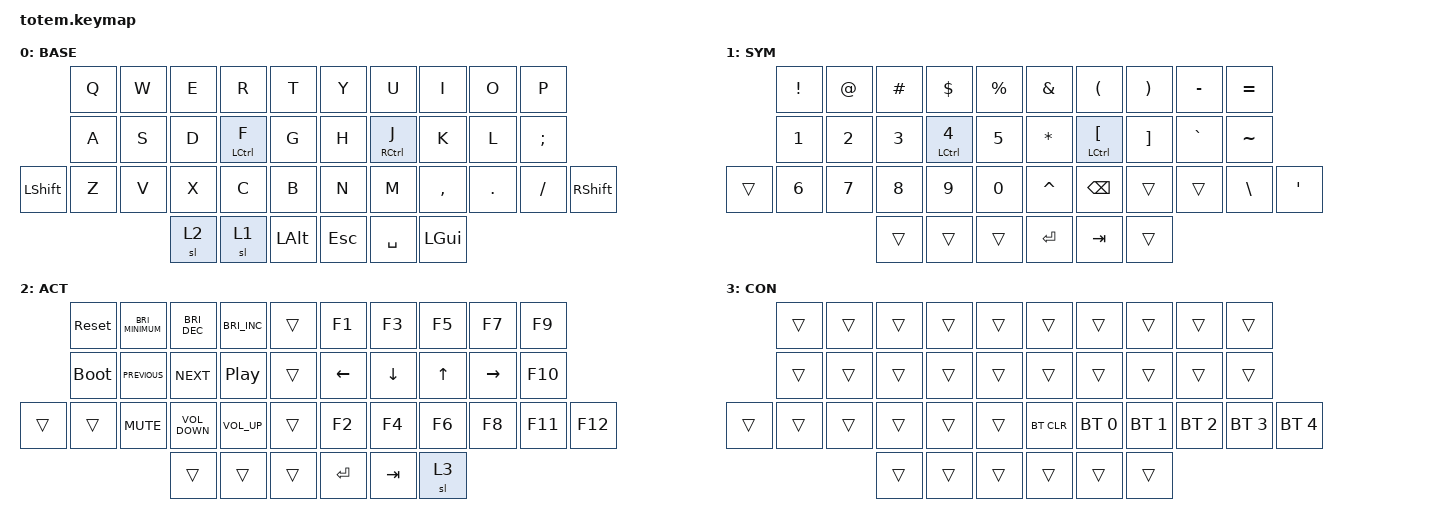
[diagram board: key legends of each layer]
//
//                                                        ▀▀▀▀▀     ▀▀▀▀▀          ▀▀█▀▀
//                                                        ▄▀▀▀▄  ▄  ▄▀▀▀▄  ▄  ▄▀▀▀▄  █  ▄▀▀▀▄
//                                                        █   █  █  █   █  █  █   █  █  █   █
//                                                         ▀▀▀   █   ▀▀▀   █   ▀▀▀   ▀   ▀▀▀
//                                                               █      ▄▄▄█▄▄▄    █   █  
//                                                               ▀      █  █  █     █▄█
//                                                             ▀▀▀▀▀    █  █  █      ▀
//                                                                      ▀  ▀  ▀
//
// ▄▄▄▄▄▄▄▄▄▄▄▄▄▄▄▄▄▄▄▄▄▄▄▄▄▄▄▄▄▄▄▄▄▄▄▄▄▄▄▄▄▄▄▄▄▄▄▄▄▄▄▄▄▄▄▄▄▄▄▄▄▄▄▄▄▄▄▄▄▄▄▄▄▄▄▄▄▄▄▄▄▄▄▄▄▄▄▄▄▄▄▄▄▄▄▄▄▄▄▄▄▄▄▄▄▄▄▄▄▄▄▄▄▄▄▄▄▄▄▄▄▄▄▄▄▄▄▄▄▄▄▄▄▄▄▄▄▄▄▄▄▄▄▄▄▄▄▄▄

#include <behaviors.dtsi>
#include <dt-bindings/zmk/bt.h>
#include <dt-bindings/zmk/keys.h>

#define BASE 0
#define NAV  1
#define SYM  2
#define ADJ  3
#define TVP1 4
#define TVP2 5

&mt {
    quick-tap-ms = <100>;
    global-quick-tap;
    flavor = "tap-preferred";
    tapping-term-ms = <170>;
};

/ {
    combos { compatible = "zmk,combos"; };

    behaviors {
        left_ctrl: left_ctrl {
            compatible = "zmk,behavior-hold-tap";
            label = "LEFT_CTRL";
            bindings = <&kp>, <&kp>;

            #binding-cells = <2>;
            tapping-term-ms = <200>;
            flavor = "tap-unless-interrupted";
            hold-while-undecided;
            hold-trigger-key-positions = <5 6 8 9 15 16 17 18 19 26 27 28 29 30 31 37 7 36 35 32 33 34>;
        };

        right_ctrl: right_ctrl {
            compatible = "zmk,behavior-hold-tap";
            label = "RIGHT_CTRL";
            bindings = <&kp>, <&kp>;

            #binding-cells = <2>;
            tapping-term-ms = <200>;
            flavor = "tap-unless-interrupted";
            hold-while-undecided;
            hold-trigger-key-positions = <0 1 2 3 4 10 11 12 13 14 20 21 22 23 24 25 32 33 34 35 36 37>;
        };
    };

    keymap {
        compatible = "zmk,keymap";

        // ▄▄▄▄▄▄▄▄▄▄▄▄▄▄▄▄▄▄▄▄▄▄▄▄▄▄▄▄▄▄▄▄▄▄▄▄▄▄▄▄▄▄▄▄▄▄▄▄▄▄▄▄▄▄▄▄▄▄▄▄▄▄▄▄▄▄▄▄▄▄▄▄▄▄▄▄▄▄▄▄▄▄▄▄▄▄▄▄▄▄▄▄▄▄▄▄▄▄▄▄▄▄▄▄▄▄▄▄▄▄▄▄▄▄▄▄▄▄▄▄▄▄▄▄▄▄▄▄▄▄▄▄▄▄▄▄▄▄▄▄▄▄▄▄▄▄▄▄▄

        base_layer {
            // ┏━━━━━━━━━━━━━━━━━━━━━━━━━━━━━━━━━━━━━━━┓

            label = "BASE";

            // ┗━━━━━━━━━━━━━━━━━━━━━━━━━━━━━━━━━━━━━━━┛
            //             ┏━━━━━━━━━━━┳━━━━━━━━━━━┳━━━━━━━━━━━┳━━━━━━━━━━━┳━━━━━━━━━━━┓   ┏━━━━━━━━━━━┳━━━━━━━━━━━┳━━━━━━━━━━━┳━━━━━━━━━━━┳━━━━━━━━━━━┓
            //             ┃     Q     ┃     W     ┃     F     ┃     P     ┃     G     ┃   ┃     J     ┃     L     ┃     U     ┃     Y     ┃     ;     ┃
            //             ┣━━━━━━━━━━━╋━━━━━━━━━━━╋━━━━━━━━━━━╋━━━━━━━━━━━╋━━━━━━━━━━━┫   ┣━━━━━━━━━━━╋━━━━━━━━━━━╋━━━━━━━━━━━╋━━━━━━━━━━━╋━━━━━━━━━━━┫
            //             ┃     A     ┃     R     ┃     S     ┃     T     ┃     D     ┃   ┃     H     ┃     N     ┃     E     ┃     I     ┃     O     ┃
            // ┏━━━━━━━━━━━╋━━━━━━━━━━━╋━━━━━━━━━━━╋━━━━━━━━━━━╋━━━━━━━━━━━╋━━━━━━━━━━━┫   ┣━━━━━━━━━━━╋━━━━━━━━━━━╋━━━━━━━━━━━╋━━━━━━━━━━━╋━━━━━━━━━━━╋━━━━━━━━━━━┓
            // ┃     Q     ┃     Z     ┃     X     ┃     C     ┃     V     ┃     B     ┃   ┃     K     ┃     M     ┃     ,     ┃     .     ┃     /     ┃     \     ┃
            // ┗━━━━━━━━━━━┻━━━━━━━━━━━┻━━━━━━━━━━━╋━━━━━━━━━━━╋━━━━━━━━━━━╋━━━━━━━━━━━┫   ┣━━━━━━━━━━━╋━━━━━━━━━━━╋━━━━━━━━━━━╋━━━━━━━━━━━┻━━━━━━━━━━━┻━━━━━━━━━━━┛
            //                                     ┃    DEL    ┃    TAB    ┃    SPC    ┃   ┃   ENTER   ┃           ┃   BSPC    ┃
            //                                     ┗━━━━━━━━━━━┻━━━━━━━━━━━┻━━━━━━━━━━━┛   ┗━━━━━━━━━━━┻━━━━━━━━━━━┻━━━━━━━━━━━┛

            bindings = <
                &kp Q  &kp W  &kp E  &kp R               &kp T           &kp Y    &kp U                &kp I         &kp O    &kp P
                &kp A  &kp S  &kp D  &left_ctrl LCTRL F  &kp G           &kp H    &right_ctrl RCTRL J  &kp K         &kp L    &kp SEMICOLON
&kp LEFT_SHIFT  &kp Z  &kp V  &kp X  &kp C               &kp B           &kp N    &kp M                &kp COMMA     &kp DOT  &kp SLASH      &kp RIGHT_SHIFT
                              &sl 2  &sl 1               &kp LEFT_ALT    &kp ESC  &kp SPACE            &kp LEFT_GUI
            >;
        };

        // ▄▄▄▄▄▄▄▄▄▄▄▄▄▄▄▄▄▄▄▄▄▄▄▄▄▄▄▄▄▄▄▄▄▄▄▄▄▄▄▄▄▄▄▄▄▄▄▄▄▄▄▄▄▄▄▄▄▄▄▄▄▄▄▄▄▄▄▄▄▄▄▄▄▄▄▄▄▄▄▄▄▄▄▄▄▄▄▄▄▄▄▄▄▄▄▄▄▄▄▄▄▄▄▄▄▄▄▄▄▄▄▄▄▄▄▄▄▄▄▄▄▄▄▄▄▄▄▄▄▄▄▄▄▄▄▄▄▄▄▄▄▄▄▄▄▄▄▄▄
        // ▄▄▄▄▄▄▄▄▄▄▄▄▄▄▄▄▄▄▄▄▄▄▄▄▄▄▄▄▄▄▄▄▄▄▄▄▄▄▄▄▄▄▄▄▄▄▄▄▄▄▄▄▄▄▄▄▄▄▄▄▄▄▄▄▄▄▄▄▄▄▄▄▄▄▄▄▄▄▄▄▄▄▄▄▄▄▄▄▄▄▄▄▄▄▄▄▄▄▄▄▄▄▄▄▄▄▄▄▄▄▄▄▄▄▄▄▄▄▄▄▄▄▄▄▄▄▄▄▄▄▄▄▄▄▄▄▄▄▄▄▄▄▄▄▄▄▄▄▄

        symbol_layer {
            // ┏━━━━━━━━━━━━━━━━━━━━━━━━━━━━━━━━━━━━━━━┓

            label = "SYM";

            // ┗━━━━━━━━━━━━━━━━━━━━━━━━━━━━━━━━━━━━━━━┛
            //             ┏━━━━━━━━━━━┳━━━━━━━━━━━┳━━━━━━━━━━━┳━━━━━━━━━━━┳━━━━━━━━━━━┓   ┏━━━━━━━━━━━┳━━━━━━━━━━━┳━━━━━━━━━━━┳━━━━━━━━━━━┳━━━━━━━━━━━┓
            //             ┃     !     ┃     @     ┃     #     ┃     $     ┃     %     ┃   ┃     ˆ     ┃     &     ┃     Ü     ┃     '     ┃     "     ┃
            //             ┣━━━━━━━━━━━╋━━━━━━━━━━━╋━━━━━━━━━━━╋━━━━━━━━━━━╋━━━━━━━━━━━┫   ┣━━━━━━━━━━━╋━━━━━━━━━━━╋━━━━━━━━━━━╋━━━━━━━━━━━╋━━━━━━━━━━━┫
            //             ┃     Ä     ┃           ┃    SZ     ┃           ┃           ┃   ┃   MUTE    ┃   YEN     ┃   EURO    ┃  POUND    ┃     Ö     ┃
            // ┏━━━━━━━━━━━╋━━━━━━━━━━━╋━━━━━━━━━━━╋━━━━━━━━━━━╋━━━━━━━━━━━╋━━━━━━━━━━━┫   ┣━━━━━━━━━━━╋━━━━━━━━━━━╋━━━━━━━━━━━╋━━━━━━━━━━━╋━━━━━━━━━━━╋━━━━━━━━━━━┓
            // ┃           ┃  EMAIL1   ┃  EMAIL2   ┃           ┃           ┃           ┃   ┃   VOL-    ┃   VOL+    ┃   LAST    ┃   NEXT    ┃     \     ┃           ┃
            // ┗━━━━━━━━━━━┻━━━━━━━━━━━┻━━━━━━━━━━━╋━━━━━━━━━━━╋━━━━━━━━━━━╋━━━━━━━━━━━┫   ┣━━━━━━━━━━━╋━━━━━━━━━━━╋━━━━━━━━━━━╋━━━━━━━━━━━┻━━━━━━━━━━━┻━━━━━━━━━━━┛
            //                                     ┃           ┃    GIF    ┃    ADJ    ┃   ┃           ┃           ┃           ┃
            //                                     ┗━━━━━━━━━━━┻━━━━━━━━━━━┻━━━━━━━━━━━┛   ┗━━━━━━━━━━━┻━━━━━━━━━━━┻━━━━━━━━━━━┛

            bindings = <
        &kp EXCL      &kp AT        &kp HASH      &kp DLLR                   &kp PRCNT       &kp AMPERSAND  &kp LEFT_PARENTHESIS            &kp RIGHT_PARENTHESIS  &kp MINUS  &kp EQUAL
        &kp NUMBER_1  &kp NUMBER_2  &kp NUMBER_3  &left_ctrl LCTRL NUMBER_4  &kp NUMBER_5    &kp ASTERISK   &right_ctrl LCTRL LEFT_BRACKET  &kp RIGHT_BRACKET      &kp GRAVE  &kp TILDE
&trans  &kp NUMBER_6  &kp NUMBER_7  &kp NUMBER_8  &kp NUMBER_9               &kp NUMBER_0    &kp CARET      &kp BACKSPACE                   &trans                 &trans     &kp BACKSLASH  &kp SQT
                                    &trans        &trans                     &trans          &kp ENTER      &kp TAB                         &trans
            >;
        };

        // ▄▄▄▄▄▄▄▄▄▄▄▄▄▄▄▄▄▄▄▄▄▄▄▄▄▄▄▄▄▄▄▄▄▄▄▄▄▄▄▄▄▄▄▄▄▄▄▄▄▄▄▄▄▄▄▄▄▄▄▄▄▄▄▄▄▄▄▄▄▄▄▄▄▄▄▄▄▄▄▄▄▄▄▄▄▄▄▄▄▄▄▄▄▄▄▄▄▄▄▄▄▄▄▄▄▄▄▄▄▄▄▄▄▄▄▄▄▄▄▄▄▄▄▄▄▄▄▄▄▄▄▄▄▄▄▄▄▄▄▄▄▄▄▄▄▄▄▄▄

        action_layer {
            // ┏━━━━━━━━━━━━━━━━━━━━━━━━━━━━━━━━━━━━━━━┓

            label = "ACT";

            // ┗━━━━━━━━━━━━━━━━━━━━━━━━━━━━━━━━━━━━━━━┛
            //             ┏━━━━━━━━━━━┳━━━━━━━━━━━┳━━━━━━━━━━━┳━━━━━━━━━━━┳━━━━━━━━━━━┓   ┏━━━━━━━━━━━┳━━━━━━━━━━━┳━━━━━━━━━━━┳━━━━━━━━━━━┳━━━━━━━━━━━┓
            //             ┃   RESET   ┃ BT CLEAR  ┃  OUT TOG  ┃           ┃           ┃   ┃           ┃    F7     ┃    F8     ┃    F9     ┃    F12    ┃
            //             ┣━━━━━━━━━━━╋━━━━━━━━━━━╋━━━━━━━━━━━╋━━━━━━━━━━━╋━━━━━━━━━━━┫   ┣━━━━━━━━━━━╋━━━━━━━━━━━╋━━━━━━━━━━━╋━━━━━━━━━━━╋━━━━━━━━━━━┫
            //             ┃ BOOTLOAD  ┃ BT NEXT   ┃           ┃           ┃           ┃   ┃           ┃    F4     ┃    F5     ┃    F6     ┃    F11    ┃
            // ┏━━━━━━━━━━━╋━━━━━━━━━━━╋━━━━━━━━━━━╋━━━━━━━━━━━╋━━━━━━━━━━━╋━━━━━━━━━━━┫   ┣━━━━━━━━━━━╋━━━━━━━━━━━╋━━━━━━━━━━━╋━━━━━━━━━━━╋━━━━━━━━━━━╋━━━━━━━━━━━┓
            // ┃           ┃           ┃ BT PREV   ┃           ┃           ┃           ┃   ┃           ┃    F1     ┃    F2     ┃    F3     ┃    F10    ┃           ┃
            // ┗━━━━━━━━━━━┻━━━━━━━━━━━┻━━━━━━━━━━━╋━━━━━━━━━━━╋━━━━━━━━━━━╋━━━━━━━━━━━┫   ┣━━━━━━━━━━━╋━━━━━━━━━━━╋━━━━━━━━━━━╋━━━━━━━━━━━┻━━━━━━━━━━━┻━━━━━━━━━━━┛
            //                                     ┃           ┃           ┃           ┃   ┃           ┃           ┃           ┃
            //                                     ┗━━━━━━━━━━━┻━━━━━━━━━━━┻━━━━━━━━━━━┛   ┗━━━━━━━━━━━┻━━━━━━━━━━━┻━━━━━━━━━━━┛

            bindings = <
        &sys_reset   &kp C_BRIGHTNESS_MINIMUM  &kp C_BRIGHTNESS_DEC  &kp C_BRI_INC     &trans    &kp F1     &kp F3    &kp F5  &kp F7     &kp F9
        &bootloader  &kp C_PREVIOUS            &kp C_NEXT            &kp C_PLAY_PAUSE  &trans    &kp LEFT   &kp DOWN  &kp UP  &kp RIGHT  &kp F10
&trans  &trans       &kp C_MUTE                &kp C_VOLUME_DOWN     &kp C_VOL_UP      &trans    &kp F2     &kp F4    &kp F6  &kp F8     &kp F11  &kp F12
                                               &trans                &trans            &trans    &kp ENTER  &kp TAB   &sl 3
            >;
        };

        connectivity_layer {
            bindings = <
        &trans  &trans  &trans  &trans  &trans    &trans      &trans        &trans        &trans        &trans
        &trans  &trans  &trans  &trans  &trans    &trans      &trans        &trans        &trans        &trans
&trans  &trans  &trans  &trans  &trans  &trans    &bt BT_CLR  &bt BT_SEL 0  &bt BT_SEL 1  &bt BT_SEL 2  &bt BT_SEL 3  &bt BT_SEL 4
                        &trans  &trans  &trans    &trans      &trans        &trans
            >;

            label = "CON";
        };

        // ▄▄▄▄▄▄▄▄▄▄▄▄▄▄▄▄▄▄▄▄▄▄▄▄▄▄▄▄▄▄▄▄▄▄▄▄▄▄▄▄▄▄▄▄▄▄▄▄▄▄▄▄▄▄▄▄▄▄▄▄▄▄▄▄▄▄▄▄▄▄▄▄▄▄▄▄▄▄▄▄▄▄▄▄▄▄▄▄▄▄▄▄▄▄▄▄▄▄▄▄▄▄▄▄▄▄▄▄▄▄▄▄▄▄▄▄▄▄▄▄▄▄▄▄▄▄▄▄▄▄▄▄▄▄▄▄▄▄▄▄▄▄▄▄▄▄▄▄▄
        // ▄▄▄▄▄▄▄▄▄▄▄▄▄▄▄▄▄▄▄▄▄▄▄▄▄▄▄▄▄▄▄▄▄▄▄▄▄▄▄▄▄▄▄▄▄▄▄▄▄▄▄▄▄▄▄▄▄▄▄▄▄▄▄▄▄▄▄▄▄▄▄▄▄▄▄▄▄▄▄▄▄▄▄▄▄▄▄▄▄▄▄▄▄▄▄▄▄▄▄▄▄▄▄▄▄▄▄▄▄▄▄▄▄▄▄▄▄▄▄▄▄▄▄▄▄▄▄▄▄▄▄▄▄▄▄▄▄▄▄▄▄▄▄▄▄▄▄▄▄
    };
};
